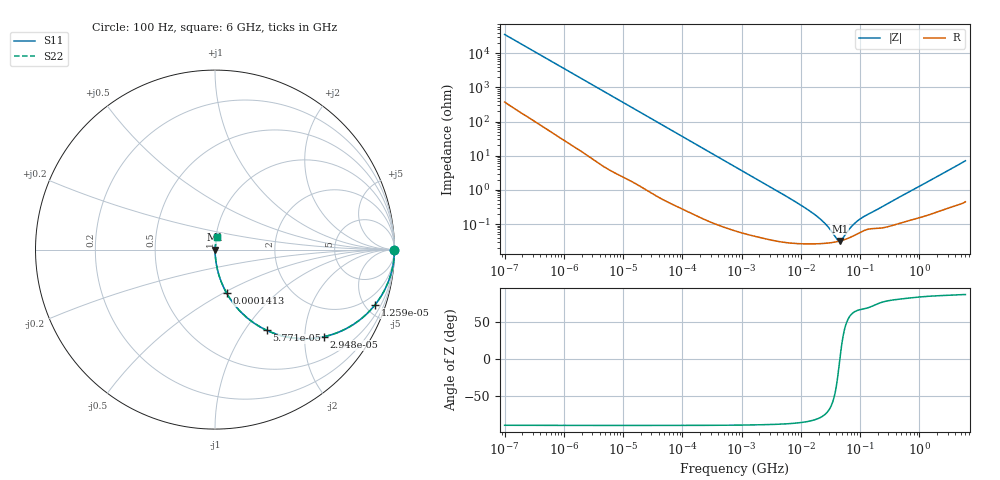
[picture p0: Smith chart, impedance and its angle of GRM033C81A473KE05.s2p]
!Murata Part Number: GRM033C81A473KE05
!These Parameters are Measured in Series Mode Connection
!Data Generated on Mar 30, 2021
!  o--ll--o
!Port1  Port2
!  o------o
!Operation Temp=25[degC], DC Bias Voltage=0[V]
!Freq. Start=100[Hz] Stop=6[GHz] 401[Steps]
# Hz S RI R 50
!Freq.(Hz) S11(Real) S11(Imag) S21(Real) S21(Imag) S12(Real) S12(Imag) S22(Real) S22(Imag)
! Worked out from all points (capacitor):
!   401 points, 100 Hz to 6 GHz, reference 50 ohm
!   read as one part in series: C = 44.6 nF near 109 Hz
!   lowest |Z| = 31.9 mohm at 45.56 MHz (marker M1)
!   series resonance near 45.72 MHz, so ESL is about 270 pH
!   S11 on the Smith chart (normalised r, x): 100 Hz: open; 12.59 kHz: 1.04, -5.79; 29.48 kHz: 1.02, -2.48; 57.71 kHz: 1.01, -1.27; 141.3 kHz: 1.00, -0.52; 6 GHz: 1.01, +0.14
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100  1 -0.00281  3.75e-05 0.00281  3.75e-05 0.00281  1 -0.00281
2008  0.9965 -0.0553  0.00347 0.0553  0.00347 0.0553  0.9965 -0.0553
5378  0.9777 -0.1446  0.0223 0.1446  0.0223 0.1446  0.9777 -0.1446
12592  0.8918 -0.3073  0.1082 0.3073  0.1082 0.3073  0.8918 -0.3073
18841  0.7882 -0.4052  0.2118 0.4052  0.2118 0.4052  0.7882 -0.4052
29482  0.6057 -0.4854  0.3943 0.4854  0.3943 0.4854  0.6057 -0.4854
40335  0.4524 -0.4944  0.5476 0.4944  0.5476 0.4944  0.4524 -0.4944
57709  0.2891 -0.4499  0.7109 0.4499  0.7109 0.4499  0.2891 -0.4499
90302  0.1439 -0.3473  0.8561 0.3473  0.8561 0.3473  0.1439 -0.3473
141303  0.0653 -0.2431  0.9347 0.2431  0.9347 0.2431  0.0653 -0.2431
302498  0.0158 -0.1201  0.9842 0.1201  0.9842 0.1201  0.0158 -0.1201
774597  0.00292 -0.0477  0.9971 0.0477  0.9971 0.0477  0.00292 -0.0477
6353432  0.000313 -0.00579  0.9997 0.00579  0.9997 0.00579  0.000313 -0.00579
1.555665e7  0.000267 -0.00213  0.9997 0.00213  0.9997 0.00213  0.000267 -0.00213
2.434276e7  0.000272 -0.0011  0.9997 0.0011  0.9997 0.0011  0.000272 -0.0011
3.983537e7  0.000302 -0.000225  0.9997 0.000225  0.9997 0.000225  0.000302 -0.000225
4.556224e7  0.000319 -5.6e-06  0.9997 5.6e-06  0.9997 5.6e-06  0.000319 -5.6e-06
4.983056e7  0.000333 0.000139  0.9997 -0.000139  0.9997 -0.000139  0.000333 0.000139
7.129496e7  0.000422 0.000723  0.9996 -0.000723  0.9996 -0.000723  0.000422 0.000723
9.326766e7  0.000536 0.00117  0.9995 -0.00117  0.9995 -0.00117  0.000536 0.00117
3.124326e8  0.000875 0.00416  0.9991 -0.00416  0.9991 -0.00416  0.000875 0.00416
6e9  0.00947 0.0703  0.9905 -0.0703  0.9905 -0.0703  0.00947 0.0703
